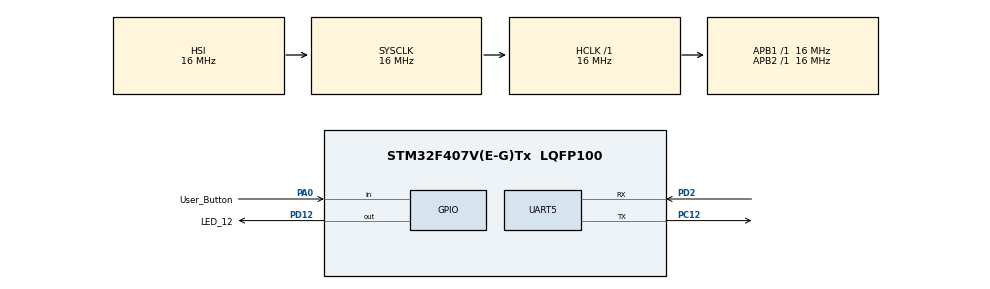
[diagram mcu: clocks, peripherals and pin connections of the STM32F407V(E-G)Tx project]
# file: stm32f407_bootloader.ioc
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Mcu.Family=STM32F4
Mcu.Name=STM32F407V(E-G)Tx
Mcu.Package=LQFP100
NVIC.PriorityGroup=NVIC_PRIORITYGROUP_4
PA0-WKUP.GPIO_Label=User_Button
PA0-WKUP.Signal=GPIO_Input
PC12.Mode=Asynchronous
PC12.Signal=UART5_TX
PD12.GPIO_Label=LED_12
PD12.Signal=GPIO_Output
PD2.Mode=Asynchronous
PD2.Signal=UART5_RX
ProjectManager.HeapSize=0x200
ProjectManager.StackSize=0x400
ProjectManager.TargetToolchain=STM32CubeIDE
RCC.AHBFreq_Value=16000000
RCC.APB1Freq_Value=16000000
RCC.APB2Freq_Value=16000000
RCC.CortexFreq_Value=16000000
RCC.HSE_VALUE=25000000
RCC.HSI_VALUE=16000000
RCC.LSE_VALUE=32768
RCC.SYSCLKFreq_VALUE=16000000
RCC.VCOOutputFreq_Value=192000000
UART5.VirtualMode=Asynchronous
VP_TIM14_VS_ClockSourceINT.Mode=Enable_Timer
board=custom

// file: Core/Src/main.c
/* USER CODE BEGIN Header */
/**
  ******************************************************************************
  * @file           : main.c
  * @brief          : Main program body
  ******************************************************************************
  * @attention
  *
  * Copyright (c) 2024 STMicroelectronics.
  * All rights reserved.
  *
  * This software is licensed under terms that can be found in the LICENSE file
  * in the root directory of this software component.
  * If no LICENSE file comes with this software, it is provided AS-IS.
  *
  ******************************************************************************
  */
/* USER CODE END Header */
#include "main.h"

TIM_HandleTypeDef htim14;

UART_HandleTypeDef huart5;

void SystemClock_Config(void);
static void MX_GPIO_Init(void);
static void MX_TIM14_Init(void);
static void MX_UART5_Init(void);
/* USER CODE BEGIN PFP */
static void goto_application( void );
/* USER CODE END PFP */

int main(void)
{

  /* MCU Configuration--------------------------------------------------------*/

  /* Reset of all peripherals, Initializes the Flash interface and the Systick. */
  HAL_Init();

  /* Configure the system clock */
  SystemClock_Config();

  /* Initialize all configured peripherals */
  MX_GPIO_Init();
  MX_TIM14_Init();
  MX_UART5_Init();
  /* USER CODE BEGIN 2 */
  // Keep user button for 3 second, stay at bootloader, otherwise jump to application

  /* USER CODE END 2 */

  /* Infinite loop */
  while (1)
  {

    /* USER CODE BEGIN 3 */
	 if(HAL_GPIO_ReadPin(User_Button_GPIO_Port, User_Button_Pin))
	 {
		 goto_application();
	 }
	 HAL_GPIO_TogglePin(LED_12_GPIO_Port, LED_12_Pin);
	 HAL_Delay(1000);
  }

  /* USER CODE END 3 */
}

void SystemClock_Config(void)
{
  RCC_OscInitTypeDef RCC_OscInitStruct = {0};
  RCC_ClkInitTypeDef RCC_ClkInitStruct = {0};

  /** Configure the main internal regulator output voltage
  */
  __HAL_RCC_PWR_CLK_ENABLE();
  __HAL_PWR_VOLTAGESCALING_CONFIG(PWR_REGULATOR_VOLTAGE_SCALE1);

  /** Initializes the RCC Oscillators according to the specified parameters
  * in the RCC_OscInitTypeDef structure.
  */
  RCC_OscInitStruct.OscillatorType = RCC_OSCILLATORTYPE_HSI;
  RCC_OscInitStruct.HSIState = RCC_HSI_ON;
  RCC_OscInitStruct.HSICalibrationValue = RCC_HSICALIBRATION_DEFAULT;
  RCC_OscInitStruct.PLL.PLLState = RCC_PLL_NONE;
  if (HAL_RCC_OscConfig(&RCC_OscInitStruct) != HAL_OK)
  {
    Error_Handler();
  }

  /** Initializes the CPU, AHB and APB buses clocks
  */
  RCC_ClkInitStruct.ClockType = RCC_CLOCKTYPE_HCLK|RCC_CLOCKTYPE_SYSCLK
                              |RCC_CLOCKTYPE_PCLK1|RCC_CLOCKTYPE_PCLK2;
  RCC_ClkInitStruct.SYSCLKSource = RCC_SYSCLKSOURCE_HSI;
  RCC_ClkInitStruct.AHBCLKDivider = RCC_SYSCLK_DIV1;
  RCC_ClkInitStruct.APB1CLKDivider = RCC_HCLK_DIV1;
  RCC_ClkInitStruct.APB2CLKDivider = RCC_HCLK_DIV1;

  if (HAL_RCC_ClockConfig(&RCC_ClkInitStruct, FLASH_LATENCY_0) != HAL_OK)
  {
    Error_Handler();
  }
}

static void MX_TIM14_Init(void)
{

  htim14.Instance = TIM14;
  htim14.Init.Prescaler = 0;
  htim14.Init.CounterMode = TIM_COUNTERMODE_UP;
  htim14.Init.Period = 65535;
  htim14.Init.ClockDivision = TIM_CLOCKDIVISION_DIV1;
  htim14.Init.AutoReloadPreload = TIM_AUTORELOAD_PRELOAD_DISABLE;
  if (HAL_TIM_Base_Init(&htim14) != HAL_OK)
  {
    Error_Handler();
  }

}

static void MX_UART5_Init(void)
{

  huart5.Instance = UART5;
  huart5.Init.BaudRate = 115200;
  huart5.Init.WordLength = UART_WORDLENGTH_8B;
  huart5.Init.StopBits = UART_STOPBITS_1;
  huart5.Init.Parity = UART_PARITY_NONE;
  huart5.Init.Mode = UART_MODE_TX_RX;
  huart5.Init.HwFlowCtl = UART_HWCONTROL_NONE;
  huart5.Init.OverSampling = UART_OVERSAMPLING_16;
  if (HAL_UART_Init(&huart5) != HAL_OK)
  {
    Error_Handler();
  }

}

static void MX_GPIO_Init(void)
{
  GPIO_InitTypeDef GPIO_InitStruct = {0};

  /* GPIO Ports Clock Enable */
  __HAL_RCC_GPIOA_CLK_ENABLE();
  __HAL_RCC_GPIOD_CLK_ENABLE();
  __HAL_RCC_GPIOC_CLK_ENABLE();

  /*Configure GPIO pin Output Level */
  HAL_GPIO_WritePin(LED_12_GPIO_Port, LED_12_Pin, GPIO_PIN_RESET);

  /*Configure GPIO pin : User_Button_Pin */
  GPIO_InitStruct.Pin = User_Button_Pin;
  GPIO_InitStruct.Mode = GPIO_MODE_INPUT;
  GPIO_InitStruct.Pull = GPIO_NOPULL;
  HAL_GPIO_Init(User_Button_GPIO_Port, &GPIO_InitStruct);

  /*Configure GPIO pin : LED_12_Pin */
  GPIO_InitStruct.Pin = LED_12_Pin;
  GPIO_InitStruct.Mode = GPIO_MODE_OUTPUT_PP;
  GPIO_InitStruct.Pull = GPIO_NOPULL;
  GPIO_InitStruct.Speed = GPIO_SPEED_FREQ_LOW;
  HAL_GPIO_Init(LED_12_GPIO_Port, &GPIO_InitStruct);

}

/* USER CODE BEGIN 4 */
/**
  * @brief Jump to application from the Bootloader
  * @retval None
  */
static void goto_application(void)
{
  //printf("Gonna Jump to Application\n");

  void (*app_reset_handler)(void) = (void*)(*((volatile uint32_t*) (0x08040000 + 4U)));

  // Turn OFF the Green Led to tell the user that Bootloader is not running
  HAL_GPIO_WritePin(LED_12_GPIO_Port, LED_12_Pin, GPIO_PIN_RESET );    //Green LED OFF

  /* Reset the Clock */
  HAL_RCC_DeInit();
  HAL_DeInit();
  __set_MSP(*(volatile uint32_t*) 0x08040000);
  SysTick->CTRL = 0;
  SysTick->LOAD = 0;
  SysTick->VAL = 0;

  /* Jump to application */
  app_reset_handler();    //call the app reset handler
}
/* USER CODE END 4 */

void Error_Handler(void)
{
  __disable_irq();
  while (1)
  {
  }
}
